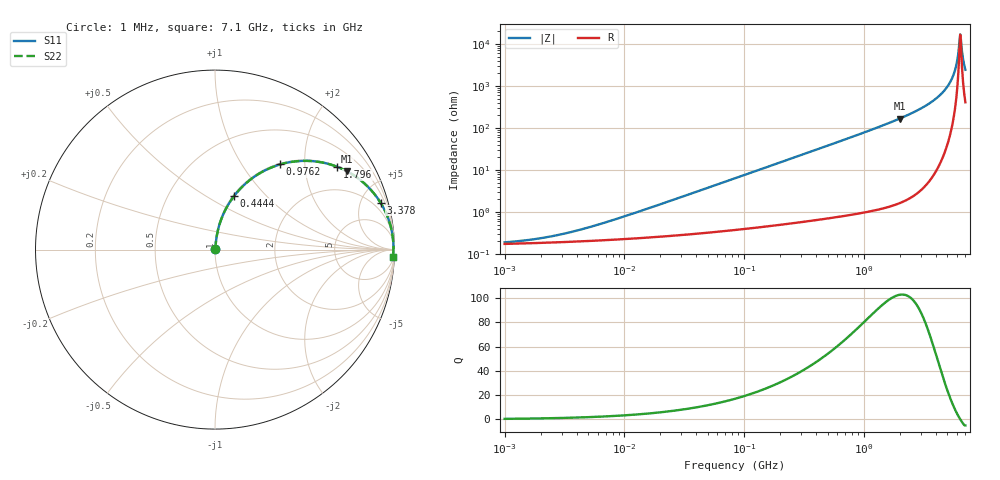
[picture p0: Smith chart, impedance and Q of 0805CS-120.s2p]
# MHz S MA R 50
!Freq  MagS11  AngS11  MagS21  AngS21  MagS12  AngS12  MagS22  AngS22
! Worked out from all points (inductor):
!   801 points, 1 MHz to 7.1 GHz, reference 50 ohm
!   read as one part in series: L = 12 nH near 8.879 MHz
!   highest Q = 103 at 2.007 GHz (marker M1), where L = 13.3 nH
!   self-resonance near 6.426 GHz
!   S11 on the Smith chart (normalised r, x): 1 MHz: 1.00, +0.00; 444.4 MHz: 1.01, +0.67; 976.2 MHz: 1.02, +1.51; 1.796 GHz: 1.03, +2.94; 3.378 GHz: 1.09, +7.03; 7.1 GHz: 9, -48
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1  0.001897 23.3  0.9983 -0.0  0.9983 -0.0  0.001897 23.3
2.12499  0.002447 40.7  0.9981 -0.1  0.9981 -0.1  0.002447 40.7
4.416577  0.003883 58.7  0.998 -0.2  0.998 -0.2  0.003883 58.7
19.29112  0.01473 79.1  0.9973 -0.8  0.9973 -0.8  0.01473 79.1
84.2615  0.06329 83.0  0.9943 -3.6  0.9943 -3.6  0.06329 83.0
187.1727  0.1393 80.0  0.9855 -8.0  0.9855 -8.0  0.1393 80.0
372.1474  0.2695 73.1  0.957 -15.6  0.957 -15.6  0.2695 73.1
444.3653  0.3172 70.4  0.9421 -18.5  0.9421 -18.5  0.3172 70.4
976.2011  0.5981 52.5  0.7939 -36.7  0.7939 -36.7  0.5981 52.5
1625.499  0.7908 37.2  0.6041 -52.3  0.6041 -52.3  0.7908 37.2
1796.029  0.8228 34.1  0.5602 -55.4  0.5602 -55.4  0.8228 34.1
2006.569  0.8551 30.7  0.5102 -58.8  0.5102 -58.8  0.8551 30.7
3378.434  0.9586 15.8  0.2726 -73.4  0.2726 -73.4  0.9586 15.8
4408.118  0.9838 9.0  0.1571 -79.6  0.1571 -79.6  0.9838 9.0
5263.545  0.9921 4.7  0.08283 -82.1  0.08283 -82.1  0.9921 4.7
5815.741  0.994 2.4  0.04184 -80.6  0.04184 -80.6  0.994 2.4
6012.392  0.9943 1.6  0.02838 -77.6  0.02838 -77.6  0.9943 1.6
6215.692  0.9943 0.8  0.01529 -67.7  0.01529 -67.7  0.9943 0.8
6355.03  0.9942 0.3  0.007743 -41.3  0.007743 -41.3  0.9942 0.3
6569.916  0.9939 -0.5  0.01043 53.8  0.01043 53.8  0.9939 -0.5
6944.328  0.9929 -1.8  0.03186 76.2  0.03186 76.2  0.9929 -1.8
7100  0.9923 -2.3  0.04082 78.0  0.04082 78.0  0.9923 -2.3
